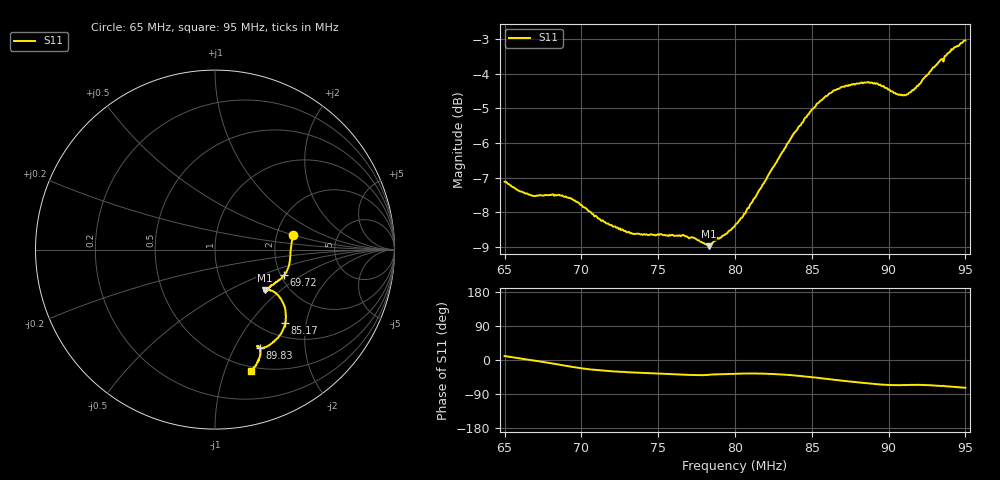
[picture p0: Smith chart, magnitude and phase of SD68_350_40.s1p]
! NanoVNA-App
! Date: 2025-08-09 12:59:54
! Start: 65MHz Stop: 95MHz Points: 401
! S-Parameter data: F S11
# Hz S RI R 50
!  Frequency  S11_Real  S11_Imag
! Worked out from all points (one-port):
!   401 points, 65 MHz to 95 MHz, reference 50 ohm
!   lowest |S11| = -9.0 dB at 78.28 MHz (marker M1), VSWR 2.10, Z = 76 - j39.1 ohm
!   |S11| at or under -10 dB: nowhere
!   S11 on the Smith chart (normalised r, x): 65 MHz: 2.46, +0.49; 69.72 MHz: 2.09, -0.72; 85.17 MHz: 1.27, -1.52; 89.83 MHz: 0.74, -1.27; 95 MHz: 0.46, -1.24
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6.5e7  0.4332 0.0804
6.68e7  0.4207 -0.00608
6.8e7  0.4167 -0.0631
6.875e7  0.4092 -0.0992
6.9725e7  0.3861 -0.1433
7.0625e7  0.3603 -0.169
7.25e7  0.3235 -0.1946
7.3325e7  0.3113 -0.2011
7.625e7  0.2896 -0.2281
7.7375e7  0.282 -0.2324
7.8275e7  0.276 -0.2245
8e7  0.3068 -0.2259
8.0825e7  0.3282 -0.2352
8.18e7  0.3534 -0.2564
8.27e7  0.3727 -0.2857
8.375e7  0.3913 -0.3331
8.5175e7  0.3915 -0.4063
8.6375e7  0.3691 -0.467
8.75e7  0.3308 -0.5085
8.8775e7  0.2869 -0.5401
8.9825e7  0.2495 -0.5476
9.0575e7  0.2371 -0.5396
9.125e7  0.2393 -0.5381
9.1925e7  0.2492 -0.552
9.2825e7  0.2526 -0.5884
9.35e7  0.2406 -0.617
9.4175e7  0.2267 -0.6447
9.5e7  0.203 -0.6744
